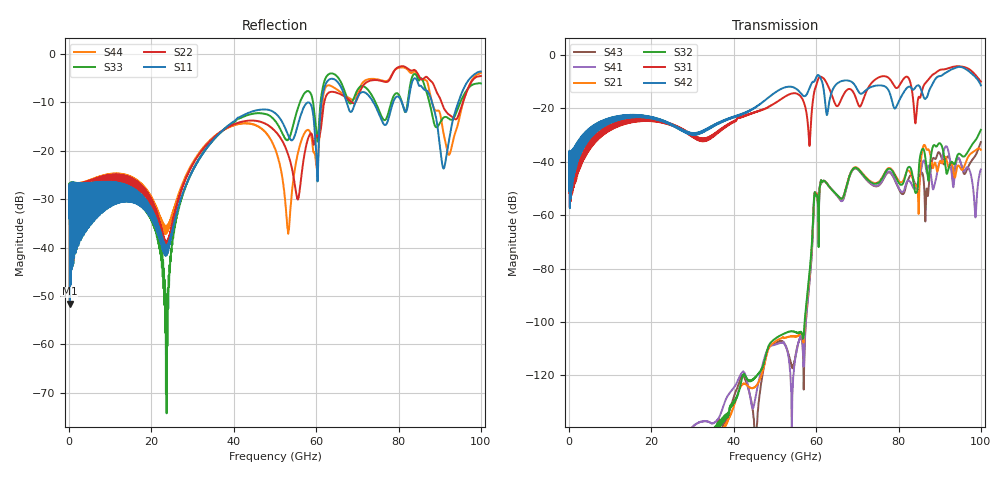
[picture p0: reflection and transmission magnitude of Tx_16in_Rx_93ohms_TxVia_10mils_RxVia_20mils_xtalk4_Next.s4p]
! Info: Touchstone file created by Circ.  Input file=Tx_16in_Rx_93ohms_TxVia_10mils_RxVia_20mils.circ
# Hz S RI R 50
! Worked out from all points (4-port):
!   10000 points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, 10 MHz to 100 GHz, reference 50 ohm
!   strongest paths, dB at 10 MHz, 25.01 GHz, 50.01 GHz, 75.01 GHz, 100 GHz:
!     S42: -50.9, -26.3, -14.1, -11.4, -11.4
!     S31: -51.6, -26.4, -18.0, -8.5, -10.0
!     S32: -, -159.7, -106.3, -48.0, -28.1
!     S21: -, -168.8, -107.4, -47.7, -35.6
!     S41: -154.8, -152.5, -108.5, -48.8, -42.8
!     S43: -155.5, -156.8, -108.1, -49.1, -32.6
!   lowest |S11| = -51.6 dB at 200 MHz (marker M1), VSWR 1.01, Z = 49.8 - j0.131 ohm
!   |S11| at or under -10 dB: start of sweep to 58.06 GHz; 73.9 GHz to 78.68 GHz (4.781 GHz wide, 6.27 % of centre); 88.13 GHz to 94.51 GHz (6.381 GHz wide, 6.99 % of centre) (the widest 3 of 6)
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1e7  0.0198 -0.00269  9.2e-13 -6.12e-12  0.00063 0.00254  -5.32e-09 1.74e-08
     9.2e-13 -6.12e-12  0.021 -0.00296  -1.18e-12 -7.43e-12  0.000662 0.00277
     0.00063 0.00254  -1.18e-12 -7.43e-12  0.0214 -0.00208  -3.04e-09 1.64e-08
     -5.32e-09 1.74e-08  0.000662 0.00277  -3.04e-09 1.64e-08  0.0206 -0.00295
2e8  -0.00228 -0.00131  5.89e-13 -8.01e-11  0.00152 0.00279  5.65e-12 -4.13e-11
     5.89e-13 -8.01e-11  -0.00229 -0.00125  -1.22e-11 -4.6e-11  0.00144 0.00281
     0.00152 0.00279  -1.22e-11 -4.6e-11  -0.00241 -0.00138  2.4e-13 -8.04e-11
     5.65e-12 -4.13e-11  0.00144 0.00281  2.4e-13 -8.04e-11  -0.00227 -0.00123
2.361e10  0.00253 0.0101  -2.8e-10 3.91e-09  0.0221 -0.0463  -8.73e-09 6.23e-09
          -2.8e-10 3.91e-09  -0.00418 -0.00806  1.91e-09 -2.81e-09  -0.00501 -0.0531
          0.0221 -0.0463  1.91e-09 -2.81e-09  0.0011 0.0022  -7.04e-09 7.39e-09
          -8.73e-09 6.23e-09  -0.00501 -0.0531  -7.04e-09 7.39e-09  -0.00822 -0.012
3.194e10  -0.0261 0.083  5.53e-09 -8.23e-09  -0.0262 -0.000241  -1.3e-07 4.04e-08
          5.53e-09 -8.23e-09  0.00622 0.0963  1.58e-08 -2.54e-08  -0.0177 0.0317
          -0.0262 -0.000241  1.58e-08 -2.54e-08  -0.0358 0.0806  -2.51e-08 1.56e-08
          -1.3e-07 4.04e-08  -0.0177 0.0317  -2.51e-08 1.56e-08  0.00189 0.1001
5.801e10  0.17 -0.2659  2.77e-05 2.56e-05  0.0345 0.0329  1.53e-05 2.25e-05
          2.77e-05 2.56e-05  -0.1002 0.0868  3.26e-05 2.79e-05  0.1195 0.1634
          0.0345 0.0329  3.26e-05 2.79e-05  0.2686 -0.3154  1.75e-05 2.38e-05
          1.53e-05 2.25e-05  0.1195 0.1634  1.75e-05 2.38e-05  -0.1639 -0.0119
6.154e10  0.3157 -0.1884  -0.00412 -0.00104  0.3251 0.1921  -0.00411 -0.000947
          -0.00412 -0.00104  -0.1719 -0.1695  -0.00415 -0.000902  0.0971 -0.28
          0.3251 0.1921  -0.00415 -0.000902  0.3455 -0.2631  -0.00413 -0.000802
          -0.00411 -0.000947  0.0971 -0.28  -0.00413 -0.000802  -0.2673 -0.1882
1e11  -0.6565 0.0598  -0.00835 0.0144  0.054 0.3115  0.00693 0.00197
      -0.00835 0.0144  -0.5906 0.0351  -0.0221 -0.0328  0.0996 0.2504
      0.054 0.3115  -0.0221 -0.0328  -0.4926 0.0604  -0.0209 0.0104
      0.00693 0.00197  0.0996 0.2504  -0.0209 0.0104  -0.6304 0.0836
